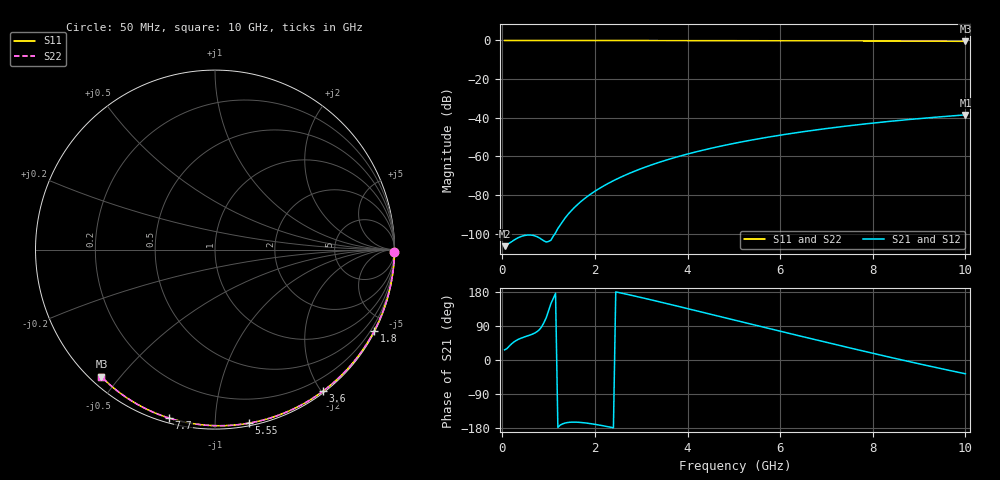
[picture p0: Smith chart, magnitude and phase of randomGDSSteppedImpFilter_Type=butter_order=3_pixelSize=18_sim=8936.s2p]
! freq	dB(S11)	phase(S11)	dB(S12)	phase(S12)
!  dB(S21)	phase(S21)	dB(S22)	phase(S22)
!S-par simulation data
#  GHz  S  DB  R 50
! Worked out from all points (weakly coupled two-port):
!   200 points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, 50 MHz to 10 GHz, reference 50 ohm
!   highest |S21| = -38.51 dB at 10 GHz (marker M1); lowest = -106.5 dB at 50 MHz (marker M2)
!   lowest |S11| = -0.4 dB at 10 GHz (marker M3), VSWR 38.89, Z = 1.54 - j22.4 ohm
!   |S11| at or under -10 dB: nowhere
!   |S22| runs from -0.4 to 0.0 dB; largest |S21 - S12| = 0
!   S11 on the Smith chart (normalised r, x): 50 MHz: open; 1.8 GHz: 0.04, -4.17; 3.6 GHz: 0.02, -2.01; 5.55 GHz: 0.02, -1.22; 7.7 GHz: 0.02, -0.76; 10 GHz: 0.03, -0.45
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0.05  -0.00 -0.8  -106.47 26.7  -106.47 26.7  -0.00 -0.8
0.9  -0.02 -13.6  -103.74 98.9  -103.74 98.9  -0.02 -13.6
1.75  -0.03 -26.3  -82.35 -165.5  -82.35 -165.5  -0.03 -26.3
1.8  -0.03 -27.0  -81.41 -166.2  -81.41 -166.2  -0.03 -27.0
1.85  -0.04 -27.7  -80.52 -167.0  -80.52 -167.0  -0.04 -27.7
1.9  -0.04 -28.5  -79.66 -167.8  -79.66 -167.8  -0.04 -28.5
2.05  -0.04 -30.7  -77.28 -170.8  -77.28 -170.8  -0.04 -30.7
2.25  -0.04 -33.6  -74.47 -175.3  -74.47 -175.3  -0.04 -33.6
2.45  -0.05 -36.5  -71.98 179.8  -71.98 179.8  -0.05 -36.5
2.65  -0.05 -39.4  -69.75 174.5  -69.75 174.5  -0.05 -39.4
3  -0.06 -44.4  -66.33 164.9  -66.33 164.9  -0.06 -44.4
3.4  -0.07 -50.0  -62.98 153.4  -62.98 153.4  -0.07 -50.0
3.6  -0.07 -52.8  -61.48 147.5  -61.48 147.5  -0.07 -52.8
4.3  -0.09 -62.4  -56.96 126.7  -56.96 126.7  -0.09 -62.4
5.05  -0.11 -72.4  -53.05 104.3  -53.05 104.3  -0.11 -72.4
5.55  -0.13 -78.9  -50.82 89.3  -50.82 89.3  -0.13 -78.9
6.1  -0.15 -85.8  -48.65 73.0  -48.65 73.0  -0.15 -85.8
6.7  -0.18 -93.3  -46.54 55.4  -46.54 55.4  -0.18 -93.3
7.7  -0.24 -105.3  -43.56 26.3  -43.56 26.3  -0.24 -105.3
8.35  -0.29 -112.9  -41.91 7.9  -41.91 7.9  -0.29 -112.9
9.15  -0.36 -122.1  -40.14 -14.1  -40.14 -14.1  -0.36 -122.1
10  -0.45 -131.8  -38.51 -36.4  -38.51 -36.4  -0.45 -131.8
